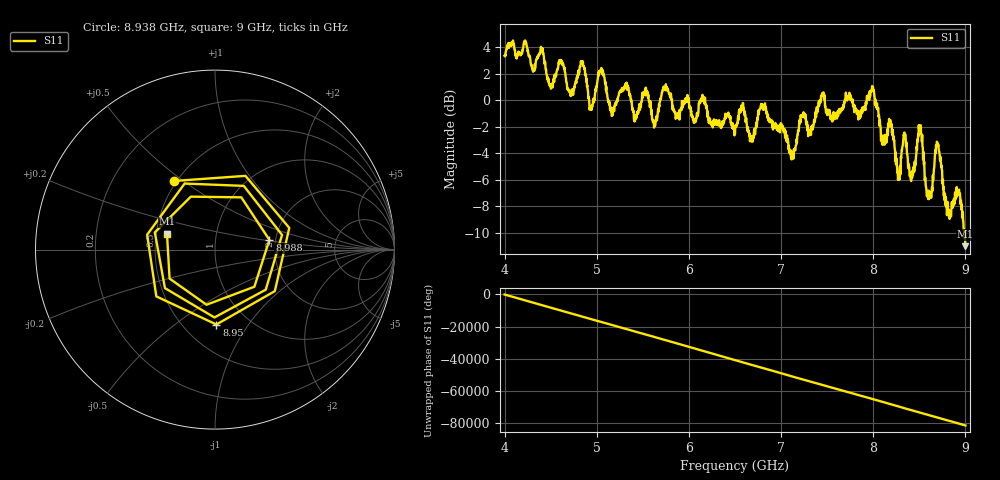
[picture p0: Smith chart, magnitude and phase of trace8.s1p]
! Created with skrf 1.8.0 (http://scikit-rf.org).
# Hz S RI R 50.0
!freq ReS11 ImS11
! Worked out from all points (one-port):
!   1601 points, 4 GHz to 9 GHz, reference 50 ohm
!   lowest |S11| = -11.0 dB at 9 GHz (marker M1), VSWR 1.78, Z = 28.5 + j5.47 ohm
!   |S11| at or under -10 dB: 8.986128 GHz to end of sweep
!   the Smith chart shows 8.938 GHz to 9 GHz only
!   S11 on the Smith chart (normalised r, x): 8.938 GHz: 0.48, +0.46; 8.95 GHz: 0.71, -0.72; 8.988 GHz: 1.85, +0.22; 9 GHz: 0.57, +0.11
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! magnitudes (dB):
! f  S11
! 4 GHz  3.4
! 4.4 GHz  3.9
! 4.506 GHz  1.0
! 4.625 GHz  2.8
! 4.722 GHz  0.4
! 4.847 GHz  2.9
! 4.934 GHz  -0.6
! 5.041 GHz  2.3
! 5.162 GHz  -1.2
! 5.25 GHz  0.7
! 5.875 GHz  -1.2
! 6.5 GHz  -2.5
! 6.809 GHz  -0.5
! 7.125 GHz  -4.0
! 7.444 GHz  0.4
! 7.75 GHz  0.4
! 7.988 GHz  1.1
! 8.272 GHz  -5.6
! 8.375 GHz  -4.4
! 8.422 GHz  -5.8
! 8.506 GHz  -2.2
! 8.603 GHz  -7.4
! 8.697 GHz  -3.2
! 8.819 GHz  -8.5
! 8.938 GHz  -7.0
! 8.95 GHz  -7.6
! 8.988 GHz  -10.2
! 9 GHz  -11.0
